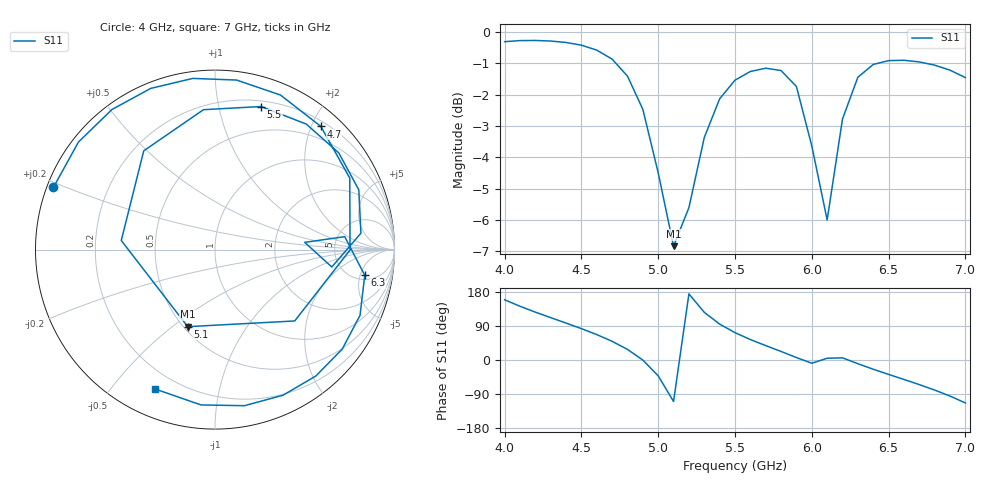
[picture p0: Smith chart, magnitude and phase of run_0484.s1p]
! Touchstone file exported from HFSS 2024.2.0
!  File:  C:/Users/wsak9/Desktop/Sim Fast/Widenad Patch/WP_AI_V1_sweep.aedt
!  Generated:  12:15:07 PM Oct 14, 2026
!  Design:  A1_model
!  Project:  WP_AI_V1_sweep
!  Setup:  Setup1
!  Solution:  Sweep
! Variables:
!  Air_gap = 4.29mm
!  Curve_Amp1 = 3.93
!  Curve_len1 = 1
!  Curve_pos = 10.17mm
!  Extra = 0.74mm
!  H_sub = 0.79mm
!  L_Patch = 16.34mm
!  L_Patch1 = 15.08mm
!  Sx = 1.63mm
!  Sy = 1.23mm
!  WS = 0.41mm
!  W_Patch = 11.89mm
!  W_Patch1 = 14.34mm
!Data is not renormalized
# GHz S MA
! Terminal data exported
! Port[1] = 1
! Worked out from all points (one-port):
!   31 points, 4 GHz to 7 GHz, reference per port
!   lowest |S11| = -6.8 dB at 5.1 GHz (marker M1), VSWR 2.67
!   |S11| at or under -10 dB: nowhere
!   S11 on the Smith chart (normalised r, x): 4 GHz: 0.02, +0.19; 4.7 GHz: 0.28, +2.15; 5.1 GHz: 0.52, -0.57; 5.5 GHz: 0.25, +1.34; 6.3 GHz: 5.89, -5.98; 7 GHz: 0.12, -0.65
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4  0.9645 159.0
4.1  0.9684 141.8
4.2  0.9689 126.3
4.4  0.9618 97.4
4.5  0.9523 82.7
4.6  0.9352 67.0
4.7  0.9048 49.3
4.8  0.85 28.0
4.9  0.7524 -0.2
5  0.5962 -41.8
5.1  0.4555 -109.5
5.2  0.5247 174.4
5.3  0.6786 125.8
5.4  0.7821 94.7
5.5  0.8375 72.1
5.6  0.8647 54.0
5.7  0.8751 38.0
5.8  0.8676 22.6
5.9  0.8181 6.4
6  0.658 -8.5
6.1  0.5014 4.6
6.2  0.7265 5.7
6.3  0.8466 -9.8
6.4  0.8872 -24.4
6.5  0.8999 -38.0
6.7  0.8955 -65.0
6.9  0.8689 -95.2
7  0.8454 -113.4
